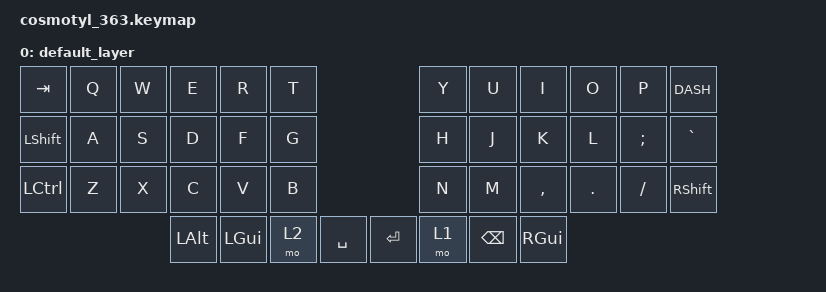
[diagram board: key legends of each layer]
/*
 * Copyright (c) 2024 Dmitrii Mozgovoi
 *
 * SPDX-License-Identifier: MIT
 */

#include <behaviors.dtsi>
#include <dt-bindings/zmk/bt.h>
#include <dt-bindings/zmk/ext_power.h>
#include <dt-bindings/zmk/keys.h>

/ {
    keymap {
        compatible = "zmk,keymap";

        default_layer {
            // ------------------------------------------------------------------------------------------------------------
            // |  TAB   |  Q  |  W  |  E  |  R   |  T   |                   |  Y   |  U  |  I  |  O  |   P   |   -   |
            // |  SHIFT |  A  |  S  |  D  |  F   |  G   |                   |  H   |  J  |  K  |  L  |   ;   |   '   |
            // |  CTRL  |  Z  |  X  |  C  |  V   |  B   |                   |  N   |  M  |  ,  |  .  |   /   | SHIFT |
            //                |  [  |  ]  | GUI  | LOWER | SPACE |  | ENTER | RAISE| GUI |  [  |  ]  |

            bindings = <
                &kp TAB     &kp Q   &kp W   &kp E     &kp R     &kp T                         &kp Y    &kp U   &kp I      &kp O     &kp P     &kp DASH
                &kp LSHIFT  &kp A   &kp S   &kp D     &kp F     &kp G                         &kp H    &kp J   &kp K      &kp L     &kp SEMI  &kp GRAVE
                &kp LCTRL   &kp Z   &kp X   &kp C     &kp V     &kp B                         &kp N    &kp M   &kp COMMA  &kp DOT   &kp FSLH  &kp RSHIFT
                                            &kp LALT  &kp LGUI  &mo 2   &kp SPACE    &kp RET  &mo 1   &kp BSPC   &kp RGUI
            >;
        };
    };
};
